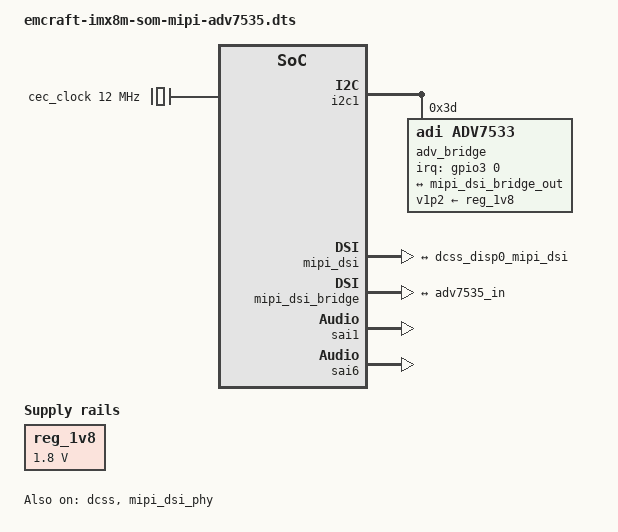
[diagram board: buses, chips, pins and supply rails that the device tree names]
/*
 * Copyright 2018 Emcraft Systems
 *
 * This program is free software; you can redistribute it and/or
 * modify it under the terms of the GNU General Public License
 * as published by the Free Software Foundation; either version 2
 * of the License, or (at your option) any later version.
 *
 * This program is distributed in the hope that it will be useful,
 * but WITHOUT ANY WARRANTY; without even the implied warranty of
 * MERCHANTABILITY or FITNESS FOR A PARTICULAR PURPOSE.  See the
 * GNU General Public License for more details.
 */

#include "emcraft-imx8m-som.dts"

/ {
	cec_clock: oscillator {
		compatible = "fixed-clock";
		#clock-cells = <0>;
		clock-frequency = <12000000>;
		clock-output-names = "cec_clock";
	};

	adv7533_hdmi_snd {
		compatible = "simple-audio-card";
		simple-audio-card,name = "HDMI ADV7535 Audio";
		simple-audio-card,widgets =
			"Speaker", "Speaker";
		simple-audio-card,routing =
			"Speaker", "TX";

		simple-audio-card,dai-link@0 {
			format = "i2s";
			cpu {
				sound-dai = <&sai1>;
				frame-master;
				bitclock-master;
			};
			codec {
				sound-dai = <&adv_bridge>;
			};
		};
	};

	reg_1v8: regulator {
		compatible = "regulator-fixed";
		regulator-name = "1v8_reg";
		regulator-min-microvolt = <1800000>;
		regulator-max-microvolt = <1800000>;
		regulator-always-on;
	};
};

&iomuxc {
	pinctrl-names = "default";

	imx8m-som {
		pinctrl_adv: advgrp {
			fsl,pins = <
				MX8MQ_IOMUXC_NAND_ALE_GPIO3_IO0	        0x16
			>;
		};

		pinctrl_sai1: sai1grp {
			fsl,pins = <
				MX8MQ_IOMUXC_SAI1_MCLK_SAI1_TX_BCLK    	0xd6
				MX8MQ_IOMUXC_SAI1_TXFS_SAI1_TX_SYNC	0xd6
				MX8MQ_IOMUXC_SAI1_TXD0_SAI1_TX_DATA0	0xd6
				MX8MQ_IOMUXC_SAI1_TXC_SAI1_TX_BCLK	0xd6
			>;
		};

		pinctrl_sai1_sleep: sai1grp_sleep {
			fsl,pins = <
				MX8MQ_IOMUXC_SAI1_MCLK_SAI1_TX_BCLK	0x00
				MX8MQ_IOMUXC_SAI1_TXFS_SAI1_TX_SYNC	0x00
				MX8MQ_IOMUXC_SAI1_TXD0_SAI1_TX_DATA0	0x00
				MX8MQ_IOMUXC_SAI1_TXC_SAI1_TX_BCLK	0x00
			>;
		};

		pinctrl_sai6: sai6grp {
			fsl,pins = <
                		MX8MQ_IOMUXC_SAI1_RXD6_SAI6_TX_SYNC    	0xd6
				MX8MQ_IOMUXC_SAI1_RXD4_SAI6_TX_BCLK	0xd6
				MX8MQ_IOMUXC_SAI1_TXD5_SAI6_TX_DATA0	0xd6
				MX8MQ_IOMUXC_SAI1_RXD5_SAI6_RX_DATA0	0xd6
			>;
		};

		pinctrl_sai6_sleep: sai6grp_sleep {
			fsl,pins = <
				MX8MQ_IOMUXC_SAI1_RXD6_SAI6_TX_SYNC	0x00
				MX8MQ_IOMUXC_SAI1_RXD4_SAI6_TX_BCLK	0x00
				MX8MQ_IOMUXC_SAI1_TXD5_SAI6_TX_DATA0	0x00
				MX8MQ_IOMUXC_SAI1_RXD5_SAI6_RX_DATA0	0x00
			>;
		};
	};
};

&i2c1 {
	adv_bridge: adv7535@3d {
               compatible = "adi,adv7533";
               reg = <0x3d>, <0x3c>, <0x7e>, <0x70>;
	       reg-names = "main", "cec", "edid", "packet";
               interrupt-parent = <&gpio3>;
               interrupts = <0 IRQ_TYPE_LEVEL_LOW>;
               adi,dsi-lanes = <4>;
               clocks = <&cec_clock>;
               clock-names = "cec";
               v1p2-supply = <&reg_1v8>;
               status = "okay";

                #sound-dai-cells = <0>;

                port {
                       adv7535_in: endpoint {
                               remote-endpoint = <&mipi_dsi_bridge_out>;
                       };
                };
    };

    ov5640_mipi: ov5640_mipi@3c {
               status = "disabled";
    };

    ov5640_mipi2: ov5640_mipi2@3c {
               status = "disabled";
    };
};

&pcie0 {
    status = "disabled";
};

&pcie1 {
    status = "disabled";
};

&dcss {
	status = "okay";
	disp-dev = "mipi_disp";

	clocks = <&clk IMX8MQ_CLK_DISP_APB_ROOT>,
		 <&clk IMX8MQ_CLK_DISP_AXI_ROOT>,
		 <&clk IMX8MQ_CLK_DISP_RTRM_ROOT>,
		 <&clk IMX8MQ_CLK_DC_PIXEL>,
		 <&clk IMX8MQ_CLK_DUMMY>,
		 <&clk IMX8MQ_CLK_DISP_DTRC>;
	clock-names = "apb", "axi", "rtrm", "pix_div", "pix_out", "dtrc";
	assigned-clocks = <&clk IMX8MQ_CLK_DC_PIXEL>,
			  <&clk IMX8MQ_CLK_DISP_AXI>,
			  <&clk IMX8MQ_CLK_DISP_RTRM>;
	assigned-clock-parents = <&clk IMX8MQ_VIDEO_PLL1_OUT>,
				 <&clk IMX8MQ_SYS1_PLL_800M>,
				 <&clk IMX8MQ_SYS1_PLL_800M>;
	assigned-clock-rates = <594000000>,
			       <800000000>,
			       <400000000>;

	dcss_disp0: port@0 {
		reg = <0>;

		dcss_disp0_mipi_dsi: mipi_dsi {
			remote-endpoint = <&mipi_dsi_in>;
		};
	};
};

&hdmi {
	status = "disabled";
};

&mipi_dsi_phy {
	status = "okay";
};

&mipi_dsi {
	status = "okay";

	port@1 {
		mipi_dsi_in: endpoint {
			remote-endpoint = <&dcss_disp0_mipi_dsi>;
		};
	};
};

&mipi_dsi_bridge {
	status = "okay";
	pinctrl-names = "default";
	pinctrl-0 = <&pinctrl_adv>;

	port@1 {
		mipi_dsi_bridge_out: endpoint {
			remote-endpoint = <&adv7535_in>;
		};
	};
};

&sai1 {
	pinctrl-names = "default", "sleep";
	pinctrl-0 = <&pinctrl_sai1>;
	pinctrl-1 = <&pinctrl_sai1_sleep>;

	#sound-dai-cells = <0>;

    	assigned-clocks = <&clk IMX8MQ_CLK_SAI1>;
	assigned-clock-parents = <&clk IMX8MQ_AUDIO_PLL1_OUT>;
	assigned-clock-rates = <24576000>;

	status = "okay";
};

&sai6 {
	pinctrl-names = "default", "sleep";
	pinctrl-0 = <&pinctrl_sai6>;
	pinctrl-1 = <&pinctrl_sai6_sleep>;

	#sound-dai-cells = <0>;

	assigned-clocks = <&clk IMX8MQ_CLK_SAI6>;
	assigned-clock-parents = <&clk IMX8MQ_AUDIO_PLL1_OUT>;
	assigned-clock-rates = <24576000>;

	status = "okay";
};
